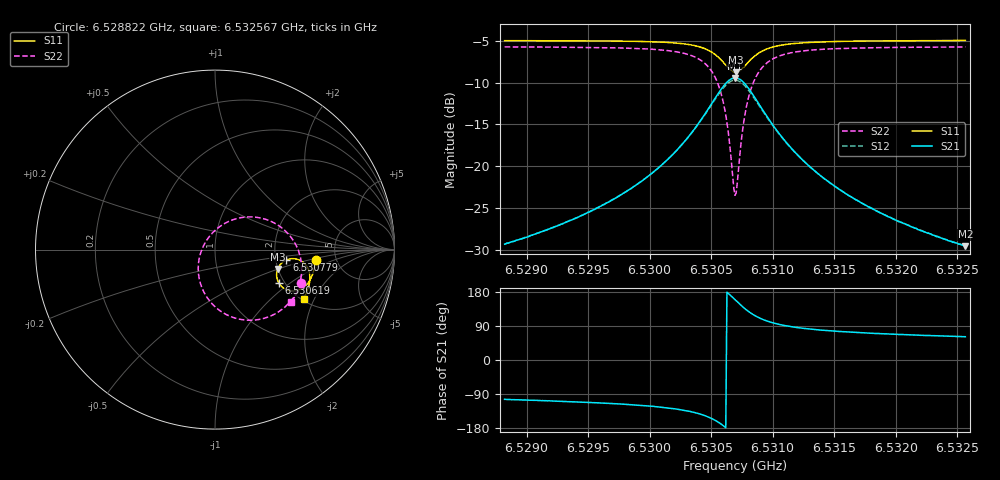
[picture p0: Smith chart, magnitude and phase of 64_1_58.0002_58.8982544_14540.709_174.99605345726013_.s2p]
#  HZ  S  RI  R  50.00
! Rohde & Schwarz Vector Network Analyzer
! Rohde-Schwarz,ZNB20-2Port,1311601062101988,3.16
! Created: UTC 3/21/2024, 12:53:06 AM
! freq[Hz]  re:S11  im:S11  re:S21  im:S21  re:S12  im:S12  re:S22  im:S22
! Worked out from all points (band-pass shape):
!   401 points, 6.528822 GHz to 6.532567 GHz, reference 50 ohm
!   highest |S21| = -9.43 dB at 6.530694 GHz (marker M1); lowest = -29.6 dB at 6.532567 GHz (marker M2)
!   |S21| within 3 dB of the highest: 6.530508 GHz to 6.530883 GHz (374.7 kHz wide, 0.00574 % of centre)
!   lowest |S11| = -8.7 dB at 6.530704 GHz (marker M3), VSWR 2.15, Z = 99.5 - j24.8 ohm
!   |S11| at or under -10 dB: nowhere
!   |S22| runs from -23.5 to -5.7 dB; largest |S21 - S12| = 0.014
!   S11 on the Smith chart (normalised r, x): 6.528822 GHz: 3.48, -0.59; 6.530619 GHz: 1.87, -0.84; 6.530779 GHz: 2.29, -0.31; 6.532567 GHz: 2.05, -1.66
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6.5288219e9  0.5607 -0.0577  -0.00811 -0.0332  -0.00894 -0.0331  0.4816 -0.1886
6.5294492e9  0.5513 -0.1118  -0.0183 -0.0474  -0.0195 -0.0471  0.4491 -0.2504
6.5297956e9  0.5404 -0.1459  -0.0312 -0.062  -0.033 -0.0612  0.4151 -0.2948
6.5300764e9  0.5237 -0.1789  -0.0548 -0.0817  -0.0573 -0.0801  0.3619 -0.3414
6.5303011e9  0.4939 -0.2109  -0.101 -0.1047  -0.1042 -0.101  0.2686 -0.3843
6.5304603e9  0.445 -0.2303  -0.1791 -0.1111  -0.1816 -0.1032  0.1255 -0.3852
6.5305539e9  0.3945 -0.2215  -0.258 -0.078  -0.2564 -0.0665  -0.00496 -0.3133
6.5306195e9  0.3567 -0.1875  -0.3127 -0.00777  -0.3049 0.00341  -0.0824 -0.1845
6.5306476e9  0.3464 -0.1637  -0.3249 0.0368  -0.3143 0.0462  -0.0935 -0.1081
6.5306756e9  0.3433 -0.1361  -0.3244 0.0865  -0.3119 0.0929  -0.0826 -0.0268
6.5306944e9  0.3461 -0.1174  -0.3157 0.1196  -0.3027 0.1237  -0.0619 0.0257
6.5307037e9  0.349 -0.1082  -0.3089 0.1355  -0.2959 0.1384  -0.0478 0.0502
6.5307131e9  0.3529 -0.0995  -0.3007 0.1506  -0.2879 0.1521  -0.0315 0.073
6.5307505e9  0.3759 -0.0709  -0.2561 0.1988  -0.2452 0.1966  0.0508 0.144
6.5307786e9  0.3976 -0.0576  -0.2163 0.2207  -0.2075 0.217  0.1204 0.1726
6.5308442e9  0.4466 -0.0513  -0.1303 0.2307  -0.1257 0.2266  0.266 0.1733
6.5309378e9  0.4919 -0.0715  -0.053 0.1999  -0.0512 0.1976  0.3916 0.1042
6.5310782e9  0.5196 -0.109  -0.00563 0.1484  -0.00455 0.1475  0.4628 -0.000362
6.5313217e9  0.5288 -0.1556  0.015 0.0956  0.0161 0.0951  0.4832 -0.1106
6.5316119e9  0.5246 -0.1931  0.0186 0.0646  0.0196 0.0645  0.4744 -0.1814
6.5319489e9  0.5151 -0.2262  0.0181 0.0461  0.019 0.046  0.4575 -0.232
6.5325669e9  0.4935 -0.2755  0.0159 0.0292  0.0166 0.029  0.4257 -0.2927
